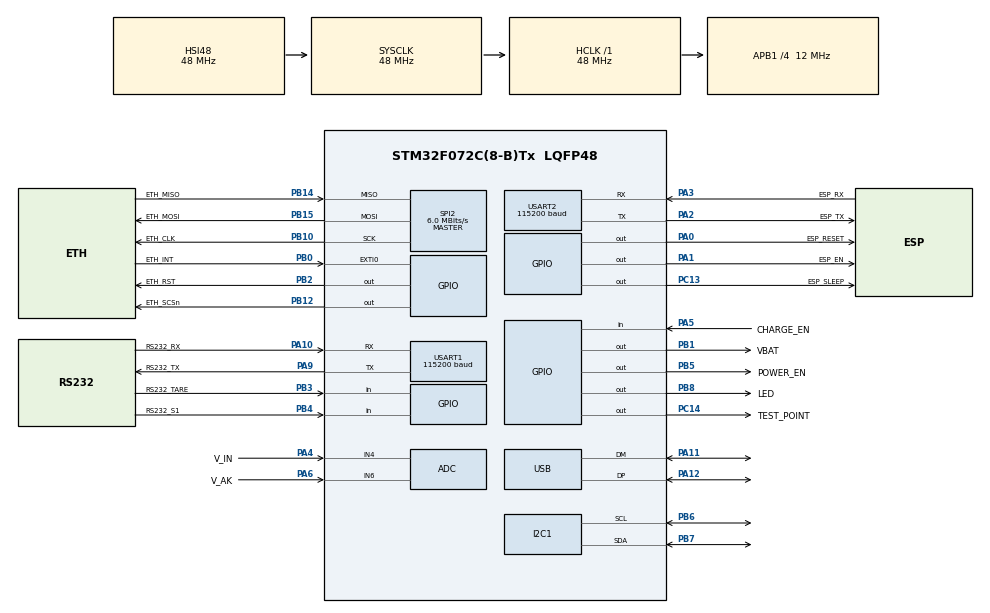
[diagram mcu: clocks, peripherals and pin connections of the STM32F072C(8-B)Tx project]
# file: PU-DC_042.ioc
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ADC.ClockPrescaler=ADC_CLOCK_SYNC_PCLK_DIV4
I2C1.GeneralCallMode=I2C_GENERALCALL_ENABLE
I2C1.OwnAddress=0x28
I2C1.Timing=0x2000090E
Mcu.Family=STM32F0
Mcu.Name=STM32F072C(8-B)Tx
Mcu.Package=LQFP48
NVIC.EXTI0_1_IRQn=true\:0\:0\:false\:false\:true
NVIC.I2C1_IRQn=true\:0\:0\:false\:false\:true
NVIC.SPI2_IRQn=true\:0\:0\:false\:false\:true
NVIC.TIM14_IRQn=true\:0\:0\:false\:false\:true
NVIC.USART1_IRQn=true\:0\:0\:false\:false\:true
NVIC.USART2_IRQn=true\:0\:0\:false\:false\:true
NVIC.USB_IRQn=true\:0\:0\:false\:false\:true
PA0.GPIO_Label=ESP_RESET
PA0.Signal=GPIO_Output
PA1.GPIO_Label=ESP_EN
PA1.Signal=GPIO_Output
PA10.GPIO_Label=RS232_RX
PA10.Mode=Asynchronous
PA10.Signal=USART1_RX
PA11.Mode=Device
PA11.Signal=USB_DM
PA12.Mode=Device
PA12.Signal=USB_DP
PA2.GPIO_Label=ESP_TX
PA2.Mode=Asynchronous
PA2.Signal=USART2_TX
PA3.GPIO_Label=ESP_RX
PA3.Mode=Asynchronous
PA3.Signal=USART2_RX
PA4.GPIO_Label=V_IN
PA4.Mode=IN4
PA4.Signal=ADC_IN4
PA5.GPIO_Label=CHARGE_EN
PA5.Signal=GPIO_Input
PA6.GPIO_Label=V_AK
PA6.Mode=IN6
PA6.Signal=ADC_IN6
PA9.GPIO_Label=RS232_TX
PA9.Mode=Asynchronous
PA9.Signal=USART1_TX
PB0.GPIO_Label=ETH_INT
PB0.Signal=GPXTI0
PB1.GPIO_Label=VBAT
PB1.Signal=GPIO_Output
PB10.GPIO_Label=ETH_CLK
PB10.Mode=Full_Duplex_Master
PB10.Signal=SPI2_SCK
PB12.GPIO_Label=ETH_SCSn
PB12.GPIO_Speed=GPIO_SPEED_FREQ_MEDIUM
PB12.PinState=GPIO_PIN_SET
PB12.Signal=GPIO_Output
PB14.GPIO_Label=ETH_MISO
PB14.Mode=Full_Duplex_Master
PB14.Signal=SPI2_MISO
PB15.GPIO_Label=ETH_MOSI
PB15.Mode=Full_Duplex_Master
PB15.Signal=SPI2_MOSI
PB2.GPIO_Label=ETH_RST
PB2.GPIO_Speed=GPIO_SPEED_FREQ_MEDIUM
PB2.PinState=GPIO_PIN_SET
PB2.Signal=GPIO_Output
PB3.GPIO_Label=RS232_TARE
PB3.Signal=GPIO_Input
PB4.GPIO_Label=RS232_S1
PB4.Signal=GPIO_Input
PB5.GPIO_Label=POWER_EN
PB5.Signal=GPIO_Output
PB6.Mode=I2C
PB6.Signal=I2C1_SCL
PB7.Mode=I2C
PB7.Signal=I2C1_SDA
PB8.GPIO_Label=LED
PB8.Signal=GPIO_Output
PC13.GPIO_Label=ESP_SLEEP
PC13.Signal=GPIO_Output
PC14-OSC32_IN.GPIO_Label=TEST_POINT
PC14-OSC32_IN.Signal=GPIO_Output
ProjectManager.HeapSize=0x200
ProjectManager.StackSize=0x400
ProjectManager.TargetToolchain=MDK-ARM V5
RCC.AHBFreq_Value=48000000
RCC.APB1CLKDivider=RCC_HCLK_DIV4
RCC.APB1Freq_Value=12000000
RCC.APB1TimFreq_Value=24000000
RCC.HCLKFreq_Value=48000000
RCC.PLLDivider=RCC_PREDIV_DIV3
RCC.PLLSourceVirtual=RCC_PLLSOURCE_HSI48
RCC.SYSCLKFreq_VALUE=48000000
RCC.SYSCLKSource=RCC_SYSCLKSOURCE_HSI48
SPI2.BaudRatePrescaler=SPI_BAUDRATEPRESCALER_2
SPI2.CLKPolarity=SPI_POLARITY_LOW
SPI2.CalculateBaudRate=6.0 MBits/s
SPI2.DataSize=SPI_DATASIZE_8BIT
SPI2.Direction=SPI_DIRECTION_2LINES
SPI2.Mode=SPI_MODE_MASTER
SPI2.NSSPMode=SPI_NSS_PULSE_DISABLE
SPI2.VirtualType=VM_MASTER
TIM14.AutoReloadPreload=TIM_AUTORELOAD_PRELOAD_ENABLE
TIM14.Period=100
TIM14.Prescaler=24000
USART1.BaudRate=115200
USART1.Parity=PARITY_EVEN
USART1.VirtualMode-Asynchronous=VM_ASYNC
USART1.WordLength=WORDLENGTH_9B
USART2.BaudRate=115200
USART2.VirtualMode-Asynchronous=VM_ASYNC
USART2.WordLength=WORDLENGTH_8B
USB_DEVICE.CLASS_NAME_FS=CDC
USB_DEVICE.VirtualMode=Cdc
USB_DEVICE.VirtualModeFS=Cdc_FS
VP_TIM14_VS_ClockSourceINT.Mode=Enable_Timer
VP_USB_DEVICE_VS_USB_DEVICE_CDC_FS.Mode=CDC_FS
board=PU-DC_042

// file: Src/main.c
/**
  ******************************************************************************
  * File Name          : main.c
  * Description        : Main program body
  ******************************************************************************
  * This notice applies to any and all portions of this file
  * that are not between comment pairs USER CODE BEGIN and
  * USER CODE END. Other portions of this file, whether
  * inserted by the user or by software development tools
  * are owned by their respective copyright owners.
  *
  * Copyright (c) 2017 STMicroelectronics International N.V.
  * All rights reserved.
  *
  * Redistribution and use in source and binary forms, with or without
  * modification, are permitted, provided that the following conditions are met:
  *
  * 1. Redistribution of source code must retain the above copyright notice,
  *    this list of conditions and the following disclaimer.
  * 2. Redistributions in binary form must reproduce the above copyright notice,
  *    this list of conditions and the following disclaimer in the documentation
  *    and/or other materials provided with the distribution.
  * 3. Neither the name of STMicroelectronics nor the names of other
  *    contributors to this software may be used to endorse or promote products
  *    derived from this software without specific written permission.
  * 4. This software, including modifications and/or derivative works of this
  *    software, must execute solely and exclusively on microcontroller or
  *    microprocessor devices manufactured by or for STMicroelectronics.
  * 5. Redistribution and use of this software other than as permitted under
  *    this license is void and will automatically terminate your rights under
  *    this license.
  *
  * THIS SOFTWARE IS PROVIDED BY STMICROELECTRONICS AND CONTRIBUTORS "AS IS"
  * AND ANY EXPRESS, IMPLIED OR STATUTORY WARRANTIES, INCLUDING, BUT NOT
  * LIMITED TO, THE IMPLIED WARRANTIES OF MERCHANTABILITY, FITNESS FOR A
  * PARTICULAR PURPOSE AND NON-INFRINGEMENT OF THIRD PARTY INTELLECTUAL PROPERTY
  * RIGHTS ARE DISCLAIMED TO THE FULLEST EXTENT PERMITTED BY LAW. IN NO EVENT
  * SHALL STMICROELECTRONICS OR CONTRIBUTORS BE LIABLE FOR ANY DIRECT, INDIRECT,
  * INCIDENTAL, SPECIAL, EXEMPLARY, OR CONSEQUENTIAL DAMAGES (INCLUDING, BUT NOT
  * LIMITED TO, PROCUREMENT OF SUBSTITUTE GOODS OR SERVICES; LOSS OF USE, DATA,
  * OR PROFITS; OR BUSINESS INTERRUPTION) HOWEVER CAUSED AND ON ANY THEORY OF
  * LIABILITY, WHETHER IN CONTRACT, STRICT LIABILITY, OR TORT (INCLUDING
  * NEGLIGENCE OR OTHERWISE) ARISING IN ANY WAY OUT OF THE USE OF THIS SOFTWARE,
  * EVEN IF ADVISED OF THE POSSIBILITY OF SUCH DAMAGE.
  *
  ******************************************************************************
  */
#include "main.h"
#include "stm32f0xx_hal.h"
#include "usb_device.h"

/* USER CODE BEGIN Includes */

/******************************************************************************/
/*                             ЗАГОЛОВОЧНЫЕ ФАЙЛЫ                             */
/******************************************************************************/

#include "I2C.h"
#include "USB.h"
#include "types_defines.h"
#include "ifs_ethernet.h"
#include "coders.h"
#include "rs232.h"
#include "flash.h"
#include "esp-07.h"

/******************************************************************************/
/*                       ЛОКАЛЬНЫЕ МАКРООПРЕДЕЛЕНИЯ                           */
/******************************************************************************/

// Макс. кол-во подключений по TCP для интерфейса Ethernet
#define MAX_TCP_CONNECT_CNT 5

// Макс. длина пакета данных (в байтах), посылаемых по TCP для интерфейса Ethernet
#define MAX_ETH_PACKET_LEN  200

/******************************************************************************/
/*                            ЛОКАЛЬНЫЕ ТИПЫ ДАННЫХ                           */
/******************************************************************************/

/******************************************************************************/
/*                               ГЛОБАЛЬНЫЕ ДАННЫЕ                            */
/******************************************************************************/

/* USER CODE END Includes */

ADC_HandleTypeDef hadc;

I2C_HandleTypeDef hi2c1;

SPI_HandleTypeDef hspi2;

TIM_HandleTypeDef htim14;

UART_HandleTypeDef huart1;
UART_HandleTypeDef huart2;

/* USER CODE BEGIN PV */
/* Private variables ---------------------------------------------------------*/

// Структура вывода веса на индикатор
Weight_Indicator_t  mW_Indicator;

// Структура вывода веса
Weight_t  mWeight;

// Структура блока информации датчика DLC
Info_DLC_t  mInfo_DLC;

// Структура блока информации блока управления
Info_CU_t  mInfo_CU;

// Структура блока информации блока индикации
Info_IU_t  mInfo_IU;

// Структура блока сохраненных данных
AllStoredData_t mAllStoredData;

//
const uint32_t BLOCK_VERSIOIN = 0x050701;
const uint64_t BLOCK_SERIAL_NUM  __attribute__((at(0x8000800))) = 0x000000110617ffa0;
const uint32_t BLOCK_DATE  __attribute__((at(0x8000808))) = 0x00170917;
const uint8_t BLOCK_MAC_5  __attribute__((at(0x8000810))) = 0x00;
const uint8_t BLOCK_MAC_4  __attribute__((at(0x8000811))) = 0x1e;
const uint8_t BLOCK_MAC_3  __attribute__((at(0x8000812))) = 0xfc;
const uint8_t BLOCK_MAC_2  __attribute__((at(0x8000813))) = 0x20;
const uint8_t BLOCK_MAC_1  __attribute__((at(0x8000814))) = 0x00;
const uint8_t BLOCK_MAC_0  __attribute__((at(0x8000815))) = 0x01;
//const uint8_t BLOCK_MAC[6]  __attribute__((at(0x8000810))) = {0x00, 0x1E, 0xFC,0x20, 0x00, 0x01};
const char 		 BLOCK_NAME[]  = "Блок интерфейсный МК\0";
const uint32_t STORE_DATA_AREA[128]  __attribute__((at(0x8001000)));
const char 		 STORE_LAP[512]  __attribute__((at(0x8001200)));
//
const char 		 MEMORY_RESERV[1024]  __attribute__((at(0x8001400)));
/******************************************************************************/
/*                              ЛОКАЛЬНЫЕ ДАННЫЕ                              */
/******************************************************************************/

/******************************************************************************/
/*                         ПРОТОТИПЫ ЛОКАЛЬНЫХ ФУНКЦИЙ                        */
/******************************************************************************/

/* USER CODE END PV */

void SystemClock_Config(void);
static void MX_GPIO_Init(void);
static void MX_ADC_Init(void);
static void MX_I2C1_Init(void);
static void MX_SPI2_Init(void);
static void MX_TIM14_Init(void);
static void MX_USART1_UART_Init(void);
static void MX_USART2_UART_Init(void);

/* USER CODE BEGIN PFP */
/* Private function prototypes -----------------------------------------------*/

///////////////////// Для отладки модуля Ethernet - END /////////////////////

/* USER CODE END PFP */

/* USER CODE BEGIN 0 */

/******************************************************************************/
/*                             ГЛОБАЛЬНЫЕ ФУНКЦИИ                             */
/******************************************************************************/

//
extern bool Get_TimerFlag(void);

///////////////////////////////////////////////////////////////////////////////////////////////////
//                              Инициализация интерфейса Ethernet                                //
///////////////////////////////////////////////////////////////////////////////////////////////////
//
void ethernet_interface_init(void)
{
    uint32_t i;
    // Сетевая конфигурация
    static wiz_NetInfo wiz_net_inf = { .mac  = { BLOCK_MAC_5, BLOCK_MAC_4, BLOCK_MAC_3,
                                                 BLOCK_MAC_2, BLOCK_MAC_1, BLOCK_MAC_0 },
                                       .dns  = {0,0,0,0},
                                       .dhcp = NETINFO_STATIC };
    //
    // Заполнение структуры настроек
    for (i=0; i<4; i++)
    {
        *(wiz_net_inf.ip + i) = *((int8_t*)&mAllStoredData.ETH_IP_ADDR + (3 - i));
        *(wiz_net_inf.sn + i) = *((int8_t*)&mAllStoredData.ETH_IP_MASK + (3 - i));
        *(wiz_net_inf.gw + i) = *((int8_t*)&mAllStoredData.ETH_IP_GATE + (3 - i));
    }

    // Инициализация модуля Ethernet (если IP==0, то отключение интерфейса)
    ifs_ethernet_init((mAllStoredData.ETH_IP_ADDR == 0) ? NULL : &wiz_net_inf);
}

///////////////////////////////////////////////////////////////////////////////////////////////////
//                           Периодический опрос интерфейса Ethernet                             //
///////////////////////////////////////////////////////////////////////////////////////////////////
//
void ethernet_interface_poll(void)
{
    static bool ifs_inited = false;

    // Соединение UDP
    ether_connection_t con1 = { .conn_type = CONN_UDP,
                                .reciv_packet_len = MAX_ETH_PACKET_LEN,  // Чтение всех пришедших данных
                                .reciv_timeout_ms = 0 };                 // без ожидания

    // Соединение TCP-сервер
    ether_connection_t con2 = { .conn_type = CONN_TCP_SERVER,
                                .reciv_packet_len = MAX_ETH_PACKET_LEN,  // Чтение всех пришедших данных
                                .reciv_timeout_ms = 0 };                 // без ожидания
    int32_t i;
    //
    switch (ifs_ethernet_interface_status_get())
    {
        // В этом сост. интерфейс готов к установлению соединений
        case IFS_STATE_INITED:
            //
            if (!ifs_inited)
            {
                ifs_inited = true;
                //
                con1.local_port = con2.local_port = mAllStoredData.ETH_IP_PORT;
                // Создание UDP соединения
                con1.reciv_transmit_callback = DecodeData;
                ifs_ethernet_connection_open(&con1);
                //
                // Создание TCP серверов
                con2.reciv_transmit_callback = DecodeData;
                for (i=0; i<MAX_TCP_CONNECT_CNT; i++)
                {
                    ifs_ethernet_connection_open(&con2);
                }
                // Привязка входного буфера к интерфейсу (один буфер на все соединения)
                CoderBuffLink(ifs_ethernet_rxbuf_ref_get(), IFS_ETHERNET);
            }
            break;

        default:
            //
            ifs_inited = false;
            break;
    }
    //
    ifs_ethernet_tick();
}

//
int ReadStoredData(void)
{
    FlashReadData((uint32_t*)( &mAllStoredData));
	return 0;
}

//
int StoreNewData(void)
{
	FlashStoreData((uint32_t*)( &mAllStoredData));
	return 0;
}

/* USER CODE END 0 */

int main(void)
{

  /* MCU Configuration----------------------------------------------------------*/

  /* Reset of all peripherals, Initializes the Flash interface and the Systick. */
  HAL_Init();

  /* Configure the system clock */
  SystemClock_Config();

  /* Initialize all configured peripherals */
  MX_GPIO_Init();
  MX_ADC_Init();
  MX_I2C1_Init();
  MX_SPI2_Init();
  MX_TIM14_Init();
  MX_USART1_UART_Init();
  MX_USART2_UART_Init();
  MX_USB_DEVICE_Init();

  /* USER CODE BEGIN 2 */
	// Stert timer 14
  HAL_TIM_Base_Start(&htim14);
  HAL_TIM_Base_Start_IT(&htim14);

  // Включили питание индикатора
//          HAL_Delay(200);
  HAL_GPIO_WritePin(POWER_EN_GPIO_Port, POWER_EN_Pin,GPIO_PIN_RESET);

  ReadStoredData();

    //!!!!!!!!!!!!!!!! Для отладки (в релизной версии удалить) !!!!!!!!!!!!!!!!!!!!!!

    mAllStoredData.ETH_IP_ADDR = 0xC0A801F1;   // 192.168.1.241
    mAllStoredData.ETH_IP_MASK = 0xFFFFFF00;   // 255.255.255.0
    mAllStoredData.ETH_IP_GATE = 0xC0A80106;   // 192.168.1.6
    mAllStoredData.ETH_IP_PORT = 5000;

    //!!!!!!!!!!!!!!!!!!!!!!!!!!!!!!!!!!!!!!!!!!!!!!!!!!!!!!!!!!!!!!!!!!!!!!!!!!!!!!!

  //
  CodersInit();

  //
  I2C_Init();

  //
  USB_Init();

  //
  RS232_Init();

  //
  ESP_Init();

  //
  ethernet_interface_init();

  /* USER CODE END 2 */

  /* Infinite loop */
  /* USER CODE BEGIN WHILE */
  while (1)
  {
    if (Get_TimerFlag()) // 100ms
    {
        HAL_GPIO_TogglePin(GPIOB, GPIO_PIN_8);
        RS232_Timeout();
        I2C_Timer();
        ESP_Timeout();
        ethernet_interface_poll();
    }

    //
    I2C_Pool();

    //
    USB_Pool();

    //
    RS232_Pool();

    //
    ESP_Pool();

  /* USER CODE END WHILE */

  /* USER CODE BEGIN 3 */

  }

}

/******************************************************************************/
/*                              ЛОКАЛЬНЫЕ ФУНКЦИИ                             */
/******************************************************************************/

  /* USER CODE END 3 */
/** System Clock Configuration
*/
void SystemClock_Config(void)
{

  RCC_OscInitTypeDef RCC_OscInitStruct;
  RCC_ClkInitTypeDef RCC_ClkInitStruct;
  RCC_PeriphCLKInitTypeDef PeriphClkInit;

    /**Initializes the CPU, AHB and APB busses clocks
    */
  RCC_OscInitStruct.OscillatorType = RCC_OSCILLATORTYPE_HSI|RCC_OSCILLATORTYPE_HSI48;
  RCC_OscInitStruct.HSIState = RCC_HSI_ON;
  RCC_OscInitStruct.HSI48State = RCC_HSI48_ON;
  RCC_OscInitStruct.HSICalibrationValue = 16;
  RCC_OscInitStruct.PLL.PLLState = RCC_PLL_NONE;
  if (HAL_RCC_OscConfig(&RCC_OscInitStruct) != HAL_OK)
  {
    _Error_Handler(__FILE__, __LINE__);
  }

    /**Initializes the CPU, AHB and APB busses clocks
    */
  RCC_ClkInitStruct.ClockType = RCC_CLOCKTYPE_HCLK|RCC_CLOCKTYPE_SYSCLK
                              |RCC_CLOCKTYPE_PCLK1;
  RCC_ClkInitStruct.SYSCLKSource = RCC_SYSCLKSOURCE_HSI48;
  RCC_ClkInitStruct.AHBCLKDivider = RCC_SYSCLK_DIV1;
  RCC_ClkInitStruct.APB1CLKDivider = RCC_HCLK_DIV4;

  if (HAL_RCC_ClockConfig(&RCC_ClkInitStruct, FLASH_LATENCY_1) != HAL_OK)
  {
    _Error_Handler(__FILE__, __LINE__);
  }

  PeriphClkInit.PeriphClockSelection = RCC_PERIPHCLK_USB|RCC_PERIPHCLK_USART1
                              |RCC_PERIPHCLK_USART2|RCC_PERIPHCLK_I2C1;
  PeriphClkInit.Usart1ClockSelection = RCC_USART1CLKSOURCE_PCLK1;
  PeriphClkInit.Usart2ClockSelection = RCC_USART2CLKSOURCE_PCLK1;
  PeriphClkInit.I2c1ClockSelection = RCC_I2C1CLKSOURCE_HSI;
  PeriphClkInit.UsbClockSelection = RCC_USBCLKSOURCE_HSI48;

  if (HAL_RCCEx_PeriphCLKConfig(&PeriphClkInit) != HAL_OK)
  {
    _Error_Handler(__FILE__, __LINE__);
  }

    /**Configure the Systick interrupt time
    */
  HAL_SYSTICK_Config(HAL_RCC_GetHCLKFreq()/1000);

    /**Configure the Systick
    */
  HAL_SYSTICK_CLKSourceConfig(SYSTICK_CLKSOURCE_HCLK);

  /* SysTick_IRQn interrupt configuration */
  HAL_NVIC_SetPriority(SysTick_IRQn, 0, 0);
}

/* ADC init function */
static void MX_ADC_Init(void)
{

  ADC_ChannelConfTypeDef sConfig;

    /**Configure the global features of the ADC (Clock, Resolution, Data Alignment and number of conversion)
    */
  hadc.Instance = ADC1;
  hadc.Init.ClockPrescaler = ADC_CLOCK_SYNC_PCLK_DIV4;
  hadc.Init.Resolution = ADC_RESOLUTION_12B;
  hadc.Init.DataAlign = ADC_DATAALIGN_RIGHT;
  hadc.Init.ScanConvMode = ADC_SCAN_DIRECTION_FORWARD;
  hadc.Init.EOCSelection = ADC_EOC_SINGLE_CONV;
  hadc.Init.LowPowerAutoWait = DISABLE;
  hadc.Init.LowPowerAutoPowerOff = DISABLE;
  hadc.Init.ContinuousConvMode = DISABLE;
  hadc.Init.DiscontinuousConvMode = DISABLE;
  hadc.Init.ExternalTrigConv = ADC_SOFTWARE_START;
  hadc.Init.ExternalTrigConvEdge = ADC_EXTERNALTRIGCONVEDGE_NONE;
  hadc.Init.DMAContinuousRequests = DISABLE;
  hadc.Init.Overrun = ADC_OVR_DATA_PRESERVED;
  if (HAL_ADC_Init(&hadc) != HAL_OK)
  {
    _Error_Handler(__FILE__, __LINE__);
  }

    /**Configure for the selected ADC regular channel to be converted.
    */
  sConfig.Channel = ADC_CHANNEL_4;
  sConfig.Rank = ADC_RANK_CHANNEL_NUMBER;
  sConfig.SamplingTime = ADC_SAMPLETIME_1CYCLE_5;
  if (HAL_ADC_ConfigChannel(&hadc, &sConfig) != HAL_OK)
  {
    _Error_Handler(__FILE__, __LINE__);
  }

    /**Configure for the selected ADC regular channel to be converted.
    */
  sConfig.Channel = ADC_CHANNEL_6;
  if (HAL_ADC_ConfigChannel(&hadc, &sConfig) != HAL_OK)
  {
    _Error_Handler(__FILE__, __LINE__);
  }

}

/* I2C1 init function */
static void MX_I2C1_Init(void)
{

  hi2c1.Instance = I2C1;
  hi2c1.Init.Timing = 0x2000090E;
  hi2c1.Init.OwnAddress1 = 80;
  hi2c1.Init.AddressingMode = I2C_ADDRESSINGMODE_7BIT;
  hi2c1.Init.DualAddressMode = I2C_DUALADDRESS_DISABLE;
  hi2c1.Init.OwnAddress2 = 0;
  hi2c1.Init.OwnAddress2Masks = I2C_OA2_NOMASK;
  hi2c1.Init.GeneralCallMode = I2C_GENERALCALL_ENABLE;
  hi2c1.Init.NoStretchMode = I2C_NOSTRETCH_DISABLE;
  if (HAL_I2C_Init(&hi2c1) != HAL_OK)
  {
    _Error_Handler(__FILE__, __LINE__);
  }

    /**Configure Analogue filter
    */
  if (HAL_I2CEx_ConfigAnalogFilter(&hi2c1, I2C_ANALOGFILTER_ENABLE) != HAL_OK)
  {
    _Error_Handler(__FILE__, __LINE__);
  }

    /**Configure Digital filter
    */
  if (HAL_I2CEx_ConfigDigitalFilter(&hi2c1, 0) != HAL_OK)
  {
    _Error_Handler(__FILE__, __LINE__);
  }

}

/* SPI2 init function */
static void MX_SPI2_Init(void)
{

  hspi2.Instance = SPI2;
  hspi2.Init.Mode = SPI_MODE_MASTER;
  hspi2.Init.Direction = SPI_DIRECTION_2LINES;
  hspi2.Init.DataSize = SPI_DATASIZE_8BIT;
  hspi2.Init.CLKPolarity = SPI_POLARITY_LOW;
  hspi2.Init.CLKPhase = SPI_PHASE_1EDGE;
  hspi2.Init.NSS = SPI_NSS_SOFT;
  hspi2.Init.BaudRatePrescaler = SPI_BAUDRATEPRESCALER_2;
  hspi2.Init.FirstBit = SPI_FIRSTBIT_MSB;
  hspi2.Init.TIMode = SPI_TIMODE_DISABLE;
  hspi2.Init.CRCCalculation = SPI_CRCCALCULATION_DISABLE;
  hspi2.Init.CRCPolynomial = 7;
  hspi2.Init.CRCLength = SPI_CRC_LENGTH_DATASIZE;
  hspi2.Init.NSSPMode = SPI_NSS_PULSE_DISABLE;
  if (HAL_SPI_Init(&hspi2) != HAL_OK)
  {
    _Error_Handler(__FILE__, __LINE__);
  }

}

/* TIM14 init function */
static void MX_TIM14_Init(void)
{

  htim14.Instance = TIM14;
  htim14.Init.Prescaler = 24000;
  htim14.Init.CounterMode = TIM_COUNTERMODE_UP;
  htim14.Init.Period = 100;
  htim14.Init.ClockDivision = TIM_CLOCKDIVISION_DIV1;
  htim14.Init.AutoReloadPreload = TIM_AUTORELOAD_PRELOAD_ENABLE;
  if (HAL_TIM_Base_Init(&htim14) != HAL_OK)
  {
    _Error_Handler(__FILE__, __LINE__);
  }

}

/* USART1 init function */
static void MX_USART1_UART_Init(void)
{

  huart1.Instance = USART1;
   huart1.Init.BaudRate = 57600;
  huart1.Init.WordLength = UART_WORDLENGTH_8B;
  huart1.Init.StopBits = UART_STOPBITS_1;
   huart1.Init.Parity = UART_PARITY_NONE;
  huart1.Init.Mode = UART_MODE_TX_RX;
  huart1.Init.HwFlowCtl = UART_HWCONTROL_NONE;
  huart1.Init.OverSampling = UART_OVERSAMPLING_16;
  huart1.Init.OneBitSampling = UART_ONE_BIT_SAMPLE_DISABLE;
  huart1.AdvancedInit.AdvFeatureInit = UART_ADVFEATURE_NO_INIT;
  if (HAL_UART_Init(&huart1) != HAL_OK)
  {
    _Error_Handler(__FILE__, __LINE__);
  }

}

/* USART2 init function */
static void MX_USART2_UART_Init(void)
{

  huart2.Instance = USART2;
  huart2.Init.BaudRate = 115200;
  huart2.Init.WordLength = UART_WORDLENGTH_8B;
  huart2.Init.StopBits = UART_STOPBITS_1;
  huart2.Init.Parity = UART_PARITY_NONE;
  huart2.Init.Mode = UART_MODE_TX_RX;
  huart2.Init.HwFlowCtl = UART_HWCONTROL_NONE;
  huart2.Init.OverSampling = UART_OVERSAMPLING_16;
  huart2.Init.OneBitSampling = UART_ONE_BIT_SAMPLE_DISABLE;
//  huart2.AdvancedInit.AdvFeatureInit = UART_ADVFEATURE_NO_INIT;
	 huart2.AdvancedInit.AdvFeatureInit = UART_ADVFEATURE_SWAP_INIT;
  huart2.AdvancedInit.Swap = UART_ADVFEATURE_SWAP_ENABLE;

  if (HAL_UART_Init(&huart2) != HAL_OK)
  {
    _Error_Handler(__FILE__, __LINE__);
  }

}

/** Configure pins as
        * Analog
        * Input
        * Output
        * EVENT_OUT
        * EXTI
*/
static void MX_GPIO_Init(void)
{

  GPIO_InitTypeDef GPIO_InitStruct;

  /* GPIO Ports Clock Enable */
  __HAL_RCC_GPIOC_CLK_ENABLE();
  __HAL_RCC_GPIOA_CLK_ENABLE();
  __HAL_RCC_GPIOB_CLK_ENABLE();

  /*Configure GPIO pin Output Level */
  HAL_GPIO_WritePin(GPIOC, ESP_SLEEP_Pin|TEST_POINT_Pin, GPIO_PIN_RESET);

  /*Configure GPIO pin Output Level */
  HAL_GPIO_WritePin(GPIOA, ESP_RESET_Pin|ESP_EN_Pin, GPIO_PIN_RESET);

  /*Configure GPIO pin Output Level */
  HAL_GPIO_WritePin(GPIOB, VBAT_Pin|POWER_EN_Pin|LED_Pin, GPIO_PIN_RESET);

	/*Configure GPIO pin : RS232_TARE_Pin */
GPIO_InitStruct.Pin = RS232_TARE_Pin;
  GPIO_InitStruct.Mode = GPIO_MODE_INPUT;
  GPIO_InitStruct.Pull = GPIO_NOPULL;
  HAL_GPIO_Init(RS232_TARE_GPIO_Port, &GPIO_InitStruct);

  /*Configure GPIO pin Output Level */
  HAL_GPIO_WritePin(GPIOB, ETH_RST_Pin|ETH_SCSn_Pin, GPIO_PIN_SET);

  /*Configure GPIO pins : ESP_SLEEP_Pin TEST_POINT_Pin */
  GPIO_InitStruct.Pin = ESP_SLEEP_Pin|TEST_POINT_Pin;
  GPIO_InitStruct.Mode = GPIO_MODE_OUTPUT_PP;
  GPIO_InitStruct.Pull = GPIO_NOPULL;
  GPIO_InitStruct.Speed = GPIO_SPEED_FREQ_LOW;
  HAL_GPIO_Init(GPIOC, &GPIO_InitStruct);

  /*Configure GPIO pins : ESP_RESET_Pin ESP_EN_Pin */
  GPIO_InitStruct.Pin = ESP_RESET_Pin|ESP_EN_Pin;
  GPIO_InitStruct.Mode = GPIO_MODE_OUTPUT_PP;
  GPIO_InitStruct.Pull = GPIO_NOPULL;
  GPIO_InitStruct.Speed = GPIO_SPEED_FREQ_LOW;
  HAL_GPIO_Init(GPIOA, &GPIO_InitStruct);

  /*Configure GPIO pin : CHARGE_EN_Pin */
  GPIO_InitStruct.Pin = CHARGE_EN_Pin;
  GPIO_InitStruct.Mode = GPIO_MODE_INPUT;
  GPIO_InitStruct.Pull = GPIO_NOPULL;
  HAL_GPIO_Init(CHARGE_EN_GPIO_Port, &GPIO_InitStruct);

  /*Configure GPIO pin : ETH_INT_Pin */
  GPIO_InitStruct.Pin = ETH_INT_Pin;
  GPIO_InitStruct.Mode = GPIO_MODE_IT_RISING;
  GPIO_InitStruct.Pull = GPIO_NOPULL;
  HAL_GPIO_Init(ETH_INT_GPIO_Port, &GPIO_InitStruct);

  /*Configure GPIO pins : VBAT_Pin POWER_EN_Pin LED_Pin */
  GPIO_InitStruct.Pin = VBAT_Pin|POWER_EN_Pin|LED_Pin;
  GPIO_InitStruct.Mode = GPIO_MODE_OUTPUT_PP;
  GPIO_InitStruct.Pull = GPIO_NOPULL;
  GPIO_InitStruct.Speed = GPIO_SPEED_FREQ_LOW;
  HAL_GPIO_Init(GPIOB, &GPIO_InitStruct);

  /*Configure GPIO pins : ETH_RST_Pin ETH_SCSn_Pin */
  GPIO_InitStruct.Pin = ETH_RST_Pin|ETH_SCSn_Pin;
  GPIO_InitStruct.Mode = GPIO_MODE_OUTPUT_PP;
  GPIO_InitStruct.Pull = GPIO_NOPULL;
  GPIO_InitStruct.Speed = GPIO_SPEED_FREQ_MEDIUM;
  HAL_GPIO_Init(GPIOB, &GPIO_InitStruct);

  /*Configure GPIO pin : RS232_S1_Pin */
  GPIO_InitStruct.Pin = RS232_S1_Pin;
  GPIO_InitStruct.Mode = GPIO_MODE_INPUT;
  GPIO_InitStruct.Pull = GPIO_NOPULL;
  HAL_GPIO_Init(RS232_S1_GPIO_Port, &GPIO_InitStruct);

  /* EXTI interrupt init*/
  HAL_NVIC_SetPriority(EXTI0_1_IRQn, 0, 0);
  HAL_NVIC_EnableIRQ(EXTI0_1_IRQn);

}

void _Error_Handler(char * file, int line)
{
  while(1)
  {
  }
}

/************************ (C) COPYRIGHT STMicroelectronics *****END OF FILE****/
